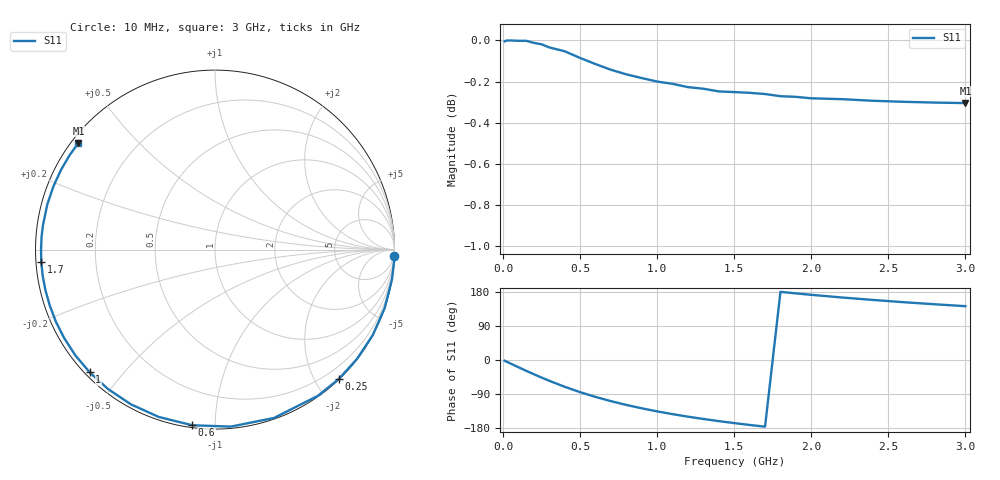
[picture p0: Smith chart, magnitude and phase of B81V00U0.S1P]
! SIEMENS Discrete & RF Semiconductors
! BBY53-03W
! Si Tuning Diode in SOD323
! VR = 1 V
! S-Parameters:  May  1997
# GHz  S  MA  R  50
!  f  S11
! GHz  MAG  ANG
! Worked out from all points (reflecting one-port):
!   30 points, 10 MHz to 3 GHz, reference 50 ohm
!   lowest |S11| = -0.3 dB at 3 GHz (marker M1), VSWR 56.99, Z = 0.981 + j17.2 ohm
!   phase of S11 starts at -2 deg and turns -216 deg over the sweep
!   S11 on the Smith chart (normalised r, x): 10 MHz: 1, -60; 250 MHz: 0.01, -2.33; 600 MHz: 0.01, -0.88; 1 GHz: 0.01, -0.41; 1.7 GHz: 0.02, -0.04; 3 GHz: 0.02, +0.34
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0.01  0.9994 -1.9
0.05  1 -9.6
0.1  0.9998 -19.1
0.15  0.9998 -28.5
0.2  0.9986 -37.6
0.25  0.9978 -46.4
0.3  0.9961 -54.9
0.4  0.9939 -70.7
0.5  0.9902 -84.9
0.6  0.9868 -97.4
0.7  0.9837 -108.6
0.8  0.9812 -118.6
0.9  0.9791 -127.5
1  0.9772 -135.6
1.1  0.976 -142.9
1.2  0.9742 -149.6
1.3  0.9733 -155.6
1.4  0.9718 -161.3
1.5  0.9715 -166.5
1.6  0.9711 -171.4
1.7  0.9704 -175.9
1.9  0.9689 175.8
2  0.9681 172.0
2.2  0.9676 164.9
2.4  0.9667 158.5
2.6  0.9662 152.5
2.8  0.9658 147.1
3  0.9655 142.0
